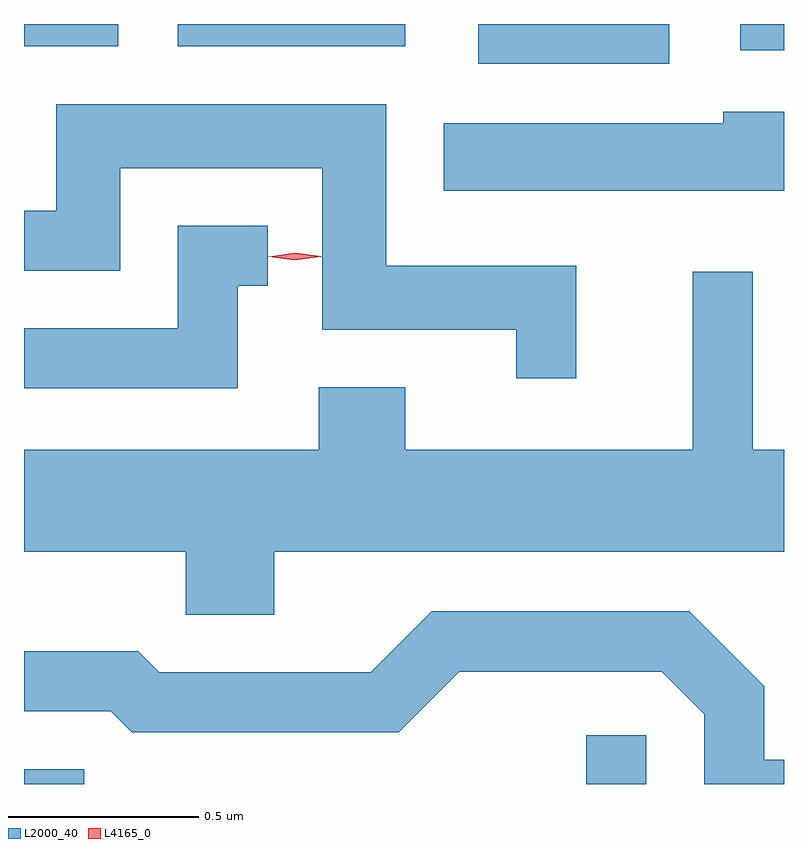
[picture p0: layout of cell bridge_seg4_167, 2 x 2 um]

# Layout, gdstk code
import gdstk
lib = gdstk.Library(unit=1e-6, precision=1e-09)
def R(c, l, rs):  # rectangles x0, y0, x1, y1
    for r in rs: c.add(gdstk.rectangle(r[:2], r[2:], *l))
def P(c, l, *ps):  # polygons
    for p in ps: c.add(gdstk.Polygon(p, *l))
L2000_40 = (2000, 40)
L4165_0 = (4165, 0)

bridge_seg4_167 = lib.new_cell('bridge_seg4_167')
R(bridge_seg4_167, L2000_40, [(948.616,1260.825,948.774,1260.864), (950.096,1260.825,950.254,1260.953), (949.811,1262.721,950.314,1262.825), (950.501,1262.756,950.616,1262.825), (948.616,1262.766,948.864,1262.825), (949.021,1262.766,949.619,1262.825)])
P(bridge_seg4_167, L2000_40, [(950.069,1262.189),(949.569,1262.189),(949.569,1262.614),(948.701,1262.614),(948.701,1262.334),(948.616,1262.334),(948.616,1262.176),(948.869,1262.176),(948.869,1262.446),(949.401,1262.446),(949.401,1262.021),(949.911,1262.021),(949.911,1261.893),(950.069,1261.893)],
  [(950.616,1262.594),(950.456,1262.594),(950.456,1262.564),(949.721,1262.564),(949.721,1262.386),(950.616,1262.386)],
  [(949.179,1262.136),(949.258,1262.136),(949.258,1262.294),(949.021,1262.294),(949.021,1262.024),(948.616,1262.024),(948.616,1261.866),(949.179,1261.866)],
  [(949.274,1261.436),(950.616,1261.436),(950.616,1261.704),(950.534,1261.704),(950.534,1262.173),(950.376,1262.173),(950.376,1261.704),(949.619,1261.704),(949.619,1261.869),(949.391,1261.869),(949.391,1261.704),(948.616,1261.704),(948.616,1261.436),(949.041,1261.436),(949.041,1261.271),(949.274,1261.271)],
  [(950.616,1260.889),(950.564,1260.889),(950.564,1261.082),(950.367,1261.279),(949.689,1261.279),(949.529,1261.119),(948.972,1261.119),(948.917,1261.174),(948.616,1261.174),(948.616,1261.016),(948.844,1261.016),(948.899,1260.961),(949.602,1260.961),(949.762,1261.121),(950.294,1261.121),(950.406,1261.009),(950.406,1260.825),(950.616,1260.825)])
P(bridge_seg4_167, L4165_0, [(949.328,1262.203),(949.259,1262.212),(949.259,1262.213),(949.259,1262.213),(949.328,1262.223),(949.398,1262.214),(949.398,1262.214),(949.398,1262.213)])

lib.write_gds('bridge_seg4_167.gds')
